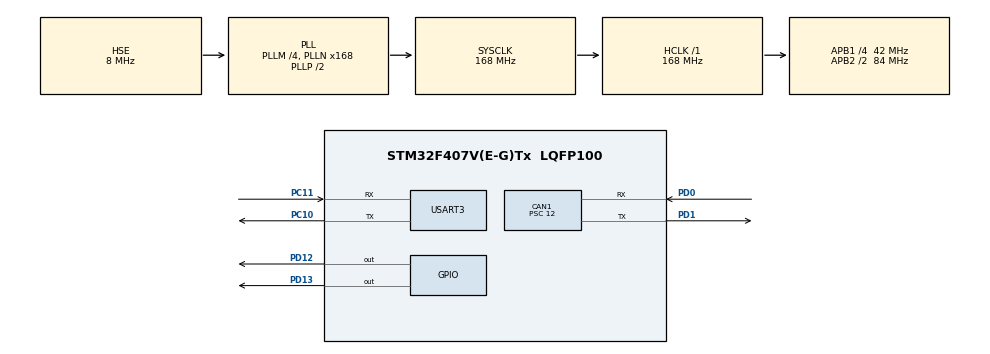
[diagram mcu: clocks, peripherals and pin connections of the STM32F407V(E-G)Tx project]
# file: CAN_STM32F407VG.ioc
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CAN1.BS1=CAN_BS1_11TQ
CAN1.BS2=CAN_BS2_2TQ
CAN1.CalculateBaudRate=250000
CAN1.CalculateTimeBit=4000
CAN1.CalculateTimeQuantum=285.7142857142857
CAN1.Prescaler=12
Mcu.Family=STM32F4
Mcu.Name=STM32F407V(E-G)Tx
Mcu.Package=LQFP100
NVIC.CAN1_RX0_IRQn=true\:0\:0\:false\:false\:true\:true\:true\:true
NVIC.CAN1_RX1_IRQn=true\:0\:0\:false\:false\:true\:true\:true\:true
NVIC.PriorityGroup=NVIC_PRIORITYGROUP_0
PA13.Mode=Serial_Wire
PA13.Signal=SYS_JTMS-SWDIO
PA14.Mode=Serial_Wire
PA14.Signal=SYS_JTCK-SWCLK
PC10.Mode=Asynchronous
PC10.Signal=USART3_TX
PC11.Mode=Asynchronous
PC11.Signal=USART3_RX
PD0.Mode=CAN_Activate
PD0.Signal=CAN1_RX
PD1.Mode=CAN_Activate
PD1.Signal=CAN1_TX
PD12.Signal=GPIO_Output
PD13.Signal=GPIO_Output
PH0-OSC_IN.Mode=HSE-External-Oscillator
PH0-OSC_IN.Signal=RCC_OSC_IN
PH1-OSC_OUT.Mode=HSE-External-Oscillator
PH1-OSC_OUT.Signal=RCC_OSC_OUT
ProjectManager.HeapSize=0x200
ProjectManager.StackSize=0x400
ProjectManager.TargetToolchain=STM32CubeIDE
RCC.48MHZClocksFreq_Value=48000000
RCC.AHBFreq_Value=168000000
RCC.APB1CLKDivider=RCC_HCLK_DIV4
RCC.APB1Freq_Value=42000000
RCC.APB1TimFreq_Value=84000000
RCC.APB2CLKDivider=RCC_HCLK_DIV2
RCC.APB2Freq_Value=84000000
RCC.APB2TimFreq_Value=168000000
RCC.CortexFreq_Value=168000000
RCC.HCLKFreq_Value=168000000
RCC.HSE_VALUE=8000000
RCC.HSI_VALUE=16000000
RCC.LSE_VALUE=32768
RCC.PLLM=4
RCC.PLLN=168
RCC.PLLQ=7
RCC.PLLSourceVirtual=RCC_PLLSOURCE_HSE
RCC.SYSCLKFreq_VALUE=168000000
RCC.SYSCLKSource=RCC_SYSCLKSOURCE_PLLCLK
RCC.VCOOutputFreq_Value=336000000
USART3.VirtualMode=VM_ASYNC
board=STM32F407G-DISC1

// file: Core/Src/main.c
/* USER CODE BEGIN Header */
/**
  ******************************************************************************
  * @file           : main.c
  * @brief          : Main program body
  ******************************************************************************
  * @attention
  *
  * Copyright (c) 2022 STMicroelectronics.
  * All rights reserved.
  *
  * This software is licensed under terms that can be found in the LICENSE file
  * in the root directory of this software component.
  * If no LICENSE file comes with this software, it is provided AS-IS.
  *
  ******************************************************************************
  */
/* USER CODE END Header */
#include "main.h"
#include <stdio.h>

CAN_HandleTypeDef hcan1;

UART_HandleTypeDef huart3;

/* USER CODE BEGIN PV */
static CAN_TxHeaderTypeDef Tx_transmit;
static CAN_RxHeaderTypeDef Rx_receive;
uint8_t TxData[8];
uint8_t RxData[8];
uint32_t Mailbox;
uint32_t terima = 0;
uint8_t kirim = 0;
uint8_t current_power;
uint8_t new_power;
uint8_t current_rccConn;
uint8_t new_rccConn;
uint8_t sendto_tugConn;
uint8_t new_tugConn;
uint8_t sendto_tugStat;
uint8_t new_tugstat;
uint8_t sendto_signalVal;
uint8_t new_signalVal;
uint8_t sendto_hydroPres; // Data to write inside TxData[1]
uint8_t new_hydroPres;
uint8_t sendto_hydroLev; // Data to write inside TxData[2]
uint8_t new_hydroLev;
uint8_t sendto_batt1; // Data to write inside TxData[3]
uint8_t new_batt1;
uint8_t sendto_batt2; // Data to write inside TxData[4]
uint8_t new_batt2;
uint8_t byte1_value;
uint8_t byte2_value;
uint8_t byte3_value;
uint8_t byte4_value;
uint8_t byte5_value;
uint8_t byte6_value;
uint8_t byte7_value;
uint8_t byte8_value;
uint8_t byte1=0;
uint8_t byte2=0;
uint8_t byte3=0;
uint8_t byte4=0;
uint8_t byte5=0;
uint8_t mockdata[8] = {1, 2, 3, 4, 5, 6, 7, 0};
uint8_t counter;

void SystemClock_Config(void);
static void MX_GPIO_Init(void);
static void MX_CAN1_Init(void);
static void MX_USART3_UART_Init(void);
/* USER CODE BEGIN PFP */
void CAN_GeneralSetup(CAN_HandleTypeDef *hcan){
	CAN_FilterTypeDef sFilterConfig;
	sFilterConfig.FilterBank = 0;
	sFilterConfig.FilterMode = CAN_FILTERMODE_IDMASK;
	sFilterConfig.FilterScale = CAN_FILTERSCALE_32BIT;

	sFilterConfig.FilterIdHigh = 0X0000;
	sFilterConfig.FilterIdLow = 0X0000;

	sFilterConfig.FilterMaskIdHigh = 0X0000;
	sFilterConfig.FilterMaskIdLow = 0X0000;
	sFilterConfig.FilterFIFOAssignment = CAN_RX_FIFO0;

	sFilterConfig.FilterActivation = ENABLE;
	sFilterConfig.SlaveStartFilterBank = 0;

	HAL_CAN_ConfigFilter(hcan, &sFilterConfig);
	HAL_CAN_Start(hcan);
	HAL_CAN_ActivateNotification(hcan, CAN_IT_RX_FIFO0_MSG_PENDING);

//	Tx_Header_Msg.DLC = 8;
//	Tx_Header_Msg.IDE = CAN_ID_STD;
//	Tx_Header_Msg.RTR = CAN_RTR_DATA;
}

void NextDataSet(){
	nexTemp = RxData[0];
	power = nexTemp & 1;

	nexTemp = RxData[0];
	rcConn = nexTemp & 2;
	rcConn = rcConn >> 1;

	nexTemp = RxData[0];
	tugConn = nexTemp & 4;
	tugConn = tugConn >> 2;

	nexTemp = RxData[0];
	tugStat = nexTemp & 24;
	tugStat = tugStat >> 3;

	nexTemp = RxData[0];
	signalVal = nexTemp & 224;
	signalVal = signalVal >> 5;

	hydroPres=RxData[1];
	hydroLev=RxData[2];
	batt1=RxData[3];
	batt2=RxData[4];
}

void NEXTION_SendString (char *ID, char *string)
{
	char buf[50];
	int len = sprintf (buf, "%s.txt=\"%s\"", ID, string);
    HAL_UART_Transmit(&huart3, (uint8_t *)buf, len, 1000);
    HAL_UART_Transmit(&huart3, Cmd_End, 3, 100);
}

void NEXTION_SendInt (char *ID, uint8_t data)
{
	char buf[50];
	int len = sprintf (buf, "%s.val=%d", ID, data);
    HAL_UART_Transmit(&huart3, (uint8_t *)buf, len, 1000);
    HAL_UART_Transmit(&huart3, Cmd_End, 3, 100);
}

void nexSendAllData(){
	NextDataSet();
	NEXTION_SendInt("va0",signalVal);
	NEXTION_SendInt("va1",tugStat);
	NEXTION_SendInt("va2",power);
	NEXTION_SendInt("va3",rcConn);
	NEXTION_SendInt("va4",tugConn);
	NEXTION_SendInt("n0",hydroPres);
	NEXTION_SendInt("j0",hydroLev);
	NEXTION_SendInt("j1",batt1);
	NEXTION_SendInt("j2",batt2);
}

void HAL_CAN_RxFifo0MsgPendingCallback(CAN_HandleTypeDef *hcan)
{
	HAL_CAN_GetRxMessage(hcan, CAN_RX_FIFO0, &Rx_receive, RxData);
	nexSendAllData();
	terima++;

}
void Can_Send(uint8_t id, uint8_t data[8])
{
	Tx_transmit.DLC = 8;
	Tx_transmit.IDE = CAN_ID_STD;
	Tx_transmit.StdId = id;
	Tx_transmit.RTR = CAN_RTR_DATA;

	for(int i = 0; i<8; i++)
	{
		TxData[i] = data[i];
	}

	HAL_CAN_AddTxMessage(&hcan1, &Tx_transmit, TxData, &Mailbox);
	kirim++;

}

void Write_Bit()
{
	byte1_value = new_power;
	byte1_value = byte1_value << 1;
	byte1_value = byte1_value | new_rccConn;
	byte1_value = byte1_value << 1;
	byte1_value = byte1_value | new_tugConn;
	byte1_value = byte1_value << 2;
	byte1_value = byte1_value | new_tugstat;
	byte1_value = byte1_value << 3;
	byte1_value = byte1_value | new_signalVal;
 	byte1 = byte1_value;
	mockdata[7]=byte1;

	byte2_value = new_hydroPres;
	byte2 = byte2_value;
	mockdata[6]=byte2;

	byte3_value = new_hydroLev;
	byte3 = byte3_value;
	mockdata[5]=byte3;

	byte4_value = new_batt1;
	byte4 = byte4_value;
	mockdata[4]=byte3;

	byte5_value = new_batt2;
	byte5 = byte5_value;
	mockdata[3]=byte5;

}

/* USER CODE END PFP */

int main(void)
{

  /* MCU Configuration--------------------------------------------------------*/

  /* Reset of all peripherals, Initializes the Flash interface and the Systick. */
  HAL_Init();

  /* Configure the system clock */
  SystemClock_Config();

  /* Initialize all configured peripherals */
  MX_GPIO_Init();
  MX_CAN1_Init();
  MX_USART3_UART_Init();
  /* USER CODE BEGIN 2 */

//  if(HAL_CAN_Start(&hcan1) != HAL_OK)
//  {
//	  Error_Handler();
//  }
//  if (HAL_CAN_ActivateNotification(&hcan1, CAN_IT_RX_FIFO0_MSG_PENDING) != HAL_OK)
//  {
//	  Error_Handler();
//  }
 	CAN_GeneralSetup(&hcan1);
  	HAL_CAN_RxFifo0MsgPendingCallback(&hcan1);

  /* USER CODE END 2 */

  /* Infinite loop */
  while (1)
  {

	  HAL_Delay(1);
	  Can_Send(1024, mockdata);
	  counter++;
	  new_power++;
	  new_rccConn++;
	  new_tugConn++;
	  new_tugstat++;
	  new_signalVal++;
	  new_hydroLev++;
	  new_hydroPres++;
	  new_batt1+=2;
	  new_batt2+=2;
	  Write_Bit();
	  switch(counter)
	  {
	  case 2:
		  new_power = 0;
		  new_tugConn = 0;
		  new_rccConn = 0;
		  break;
	  case 3:
		 new_tugstat = 0;
		 break;
	  case 6:
		  new_signalVal = 0;
		  break;
	  case 8:
		  counter = 0;
		  break;
	  }
	  HAL_Delay(50);

  }
}

void SystemClock_Config(void)
{
  RCC_OscInitTypeDef RCC_OscInitStruct = {0};
  RCC_ClkInitTypeDef RCC_ClkInitStruct = {0};

  /** Configure the main internal regulator output voltage
  */
  __HAL_RCC_PWR_CLK_ENABLE();
  __HAL_PWR_VOLTAGESCALING_CONFIG(PWR_REGULATOR_VOLTAGE_SCALE1);

  /** Initializes the RCC Oscillators according to the specified parameters
  * in the RCC_OscInitTypeDef structure.
  */
  RCC_OscInitStruct.OscillatorType = RCC_OSCILLATORTYPE_HSE;
  RCC_OscInitStruct.HSEState = RCC_HSE_ON;
  RCC_OscInitStruct.PLL.PLLState = RCC_PLL_ON;
  RCC_OscInitStruct.PLL.PLLSource = RCC_PLLSOURCE_HSE;
  RCC_OscInitStruct.PLL.PLLM = 4;
  RCC_OscInitStruct.PLL.PLLN = 168;
  RCC_OscInitStruct.PLL.PLLP = RCC_PLLP_DIV2;
  RCC_OscInitStruct.PLL.PLLQ = 7;
  if (HAL_RCC_OscConfig(&RCC_OscInitStruct) != HAL_OK)
  {
    Error_Handler();
  }

  /** Initializes the CPU, AHB and APB buses clocks
  */
  RCC_ClkInitStruct.ClockType = RCC_CLOCKTYPE_HCLK|RCC_CLOCKTYPE_SYSCLK
                              |RCC_CLOCKTYPE_PCLK1|RCC_CLOCKTYPE_PCLK2;
  RCC_ClkInitStruct.SYSCLKSource = RCC_SYSCLKSOURCE_PLLCLK;
  RCC_ClkInitStruct.AHBCLKDivider = RCC_SYSCLK_DIV1;
  RCC_ClkInitStruct.APB1CLKDivider = RCC_HCLK_DIV4;
  RCC_ClkInitStruct.APB2CLKDivider = RCC_HCLK_DIV2;

  if (HAL_RCC_ClockConfig(&RCC_ClkInitStruct, FLASH_LATENCY_5) != HAL_OK)
  {
    Error_Handler();
  }
}

static void MX_CAN1_Init(void)
{

  hcan1.Instance = CAN1;
  hcan1.Init.Prescaler = 12;
  hcan1.Init.Mode = CAN_MODE_NORMAL;
  hcan1.Init.SyncJumpWidth = CAN_SJW_1TQ;
  hcan1.Init.TimeSeg1 = CAN_BS1_11TQ;
  hcan1.Init.TimeSeg2 = CAN_BS2_2TQ;
  hcan1.Init.TimeTriggeredMode = DISABLE;
  hcan1.Init.AutoBusOff = DISABLE;
  hcan1.Init.AutoWakeUp = DISABLE;
  hcan1.Init.AutoRetransmission = DISABLE;
  hcan1.Init.ReceiveFifoLocked = DISABLE;
  hcan1.Init.TransmitFifoPriority = DISABLE;
  if (HAL_CAN_Init(&hcan1) != HAL_OK)
  {
    Error_Handler();
  }

}

static void MX_USART3_UART_Init(void)
{

  huart3.Instance = USART3;
  huart3.Init.BaudRate = 115200;
  huart3.Init.WordLength = UART_WORDLENGTH_8B;
  huart3.Init.StopBits = UART_STOPBITS_1;
  huart3.Init.Parity = UART_PARITY_NONE;
  huart3.Init.Mode = UART_MODE_TX_RX;
  huart3.Init.HwFlowCtl = UART_HWCONTROL_NONE;
  huart3.Init.OverSampling = UART_OVERSAMPLING_16;
  if (HAL_UART_Init(&huart3) != HAL_OK)
  {
    Error_Handler();
  }

}

static void MX_GPIO_Init(void)
{
  GPIO_InitTypeDef GPIO_InitStruct = {0};

  /* GPIO Ports Clock Enable */
  __HAL_RCC_GPIOH_CLK_ENABLE();
  __HAL_RCC_GPIOD_CLK_ENABLE();
  __HAL_RCC_GPIOA_CLK_ENABLE();
  __HAL_RCC_GPIOC_CLK_ENABLE();

  /*Configure GPIO pin Output Level */
  HAL_GPIO_WritePin(GPIOD, GPIO_PIN_12|GPIO_PIN_13, GPIO_PIN_RESET);

  /*Configure GPIO pins : PD12 PD13 */
  GPIO_InitStruct.Pin = GPIO_PIN_12|GPIO_PIN_13;
  GPIO_InitStruct.Mode = GPIO_MODE_OUTPUT_PP;
  GPIO_InitStruct.Pull = GPIO_NOPULL;
  GPIO_InitStruct.Speed = GPIO_SPEED_FREQ_LOW;
  HAL_GPIO_Init(GPIOD, &GPIO_InitStruct);

}

/* USER CODE BEGIN 4 */
//void HAL_CAN_RxFifo0MsgPendingCallback(CAN_HandleTypeDef *hcan)
//{
//	memset(RxData, 0, 8);
//	HAL_CAN_GetRxMessage(hcan, CAN_RX_FIFO0, &Rx_receive, RxData);
//	terima++;
//
//}
/* USER CODE END 4 */

void Error_Handler(void)
{
  __disable_irq();
  while (1)
  {
  }
}
